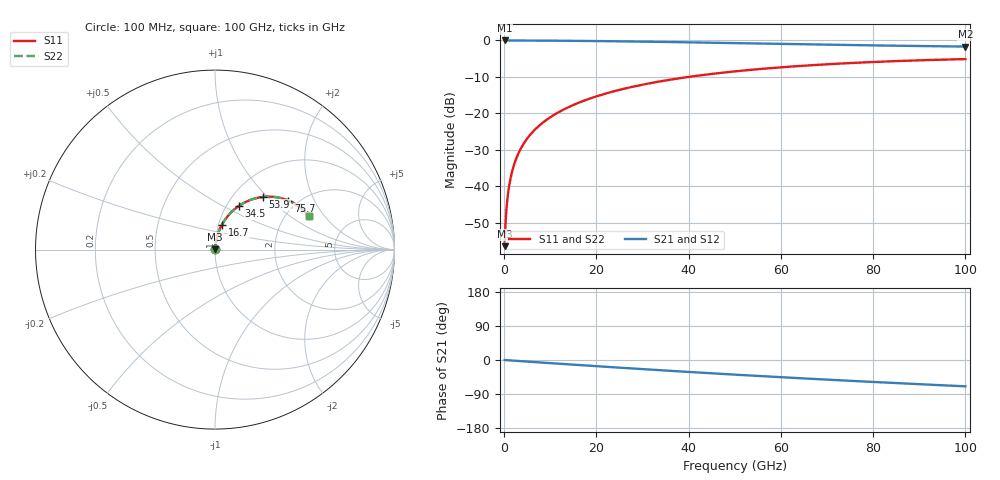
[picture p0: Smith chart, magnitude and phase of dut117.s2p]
! Touchstone file exported from HFSS 2026.1.0
!  File:  C:/ffzhzh/LocalFiles/Ansys_Project_Files/temp_train_RDL_117_1783499372_55944.aedt
!  Generated:  04:30:39 PM Jul  8, 2026
!  Design:  RDL
!  Project:  temp_train_RDL_117_1783499372_55944
! Variables:
!  h_bsmrdl = 2um
!  h_ox = 20um
!  h_rdl = 5um
!  h_sub = 80um
!  h_tmrdl = 4.64um
!  h_tsv = 80um
!  h_via = 3um
!  l_bsmrdl = 300um
!  l_sub = 605.94um
!  l_tmrdl = 205.94um
!  m_sub = 200um
!  pitch = 40.42um
!  r_tsv = 6um
!  s_tmrdl = 10um
!  w_bsmrdl = 18um
!  w_sub = 500um
!  w_tmrdl = 15.44um
!  x_tsv_center1 = 213.66um
!  x_tsv_center2 = 531.66um
!  x_tsv_center3 = 753.04um
!  x_tsv_center4 = 1071.04um
!  x_tsv_center5 = 1292.42um
!  x_tsv_center6 = 1610.42um
# GHz S MA R 50.000000
! Terminal data exported
! Port[1] = TM_RDL1_1_T1
! Port[2] = TM_RDL1_1_T2
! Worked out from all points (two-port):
!   1000 points, 100 MHz to 100 GHz, reference 50 ohm
!   highest |S21| = -0.01 dB at 100 MHz (marker M1); lowest = -1.7 dB at 100 GHz (marker M2)
!   |S21| within 3 dB of the highest: start of sweep to end of sweep
!   lowest |S11| = -56.4 dB at 100 MHz (marker M3), VSWR 1.00, Z = 50.1 + j0.098 ohm
!   |S11| at or under -10 dB: start of sweep to 40.05 GHz
!   |S22| runs from -56.4 to -5.1 dB; largest |S21 - S12| = 5.1e-15
!   S11 on the Smith chart (normalised r, x): 100 MHz: 1.00, +0.00; 16.7 GHz: 1.04, +0.29; 34.5 GHz: 1.14, +0.60; 53.9 GHz: 1.35, +0.94; 75.7 GHz: 1.79, +1.29; 100 GHz: 2.63, +1.42
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0.1  0.001509 40.4  0.9989 -0.1  0.9989 -0.1  0.001509 40.4
! Gamma 0 0 0 0
! Port Impedance 50 0 50 0
0.4  0.003994 71.1  0.9987 -0.3  0.9987 -0.3  0.003994 71.1
0.8  0.007553 79.0  0.9986 -0.7  0.9986 -0.7  0.007553 79.0
1.1  0.01026 81.2  0.9985 -0.9  0.9985 -0.9  0.01026 81.2
1.4  0.01298 82.4  0.9985 -1.2  0.9985 -1.2  0.01298 82.4
1.9  0.01751 83.3  0.9983 -1.6  0.9983 -1.6  0.01751 83.3
2.4  0.02204 83.6  0.9981 -2.0  0.9981 -2.0  0.02204 83.6
3.9  0.03549 83.3  0.9973 -3.3  0.9973 -3.3  0.03549 83.3
6  0.05397 82.1  0.9958 -5.0  0.9958 -5.0  0.05397 82.1
8.8  0.07814 80.1  0.9935 -7.3  0.9935 -7.3  0.07814 80.2
12.3  0.1078 77.6  0.99 -10.2  0.99 -10.2  0.1078 77.6
16.7  0.1442 74.4  0.9847 -13.7  0.9847 -13.7  0.1442 74.4
16.8  0.145 74.3  0.9845 -13.8  0.9845 -13.8  0.145 74.3
24.2  0.2038 68.8  0.9732 -19.6  0.9732 -19.6  0.2037 68.8
33.4  0.2715 62.0  0.9558 -26.6  0.9558 -26.6  0.2715 62.0
34.5  0.2791 61.1  0.9535 -27.5  0.9535 -27.5  0.2791 61.2
50.1  0.3767 50.1  0.9188 -38.7  0.9188 -38.7  0.3767 50.2
53.9  0.3973 47.6  0.91 -41.3  0.91 -41.3  0.3973 47.7
66.7  0.4575 39.3  0.8813 -49.7  0.8813 -49.7  0.4574 39.4
75.7  0.4917 33.7  0.8627 -55.3  0.8627 -55.3  0.4917 33.8
83.4  0.5161 29.2  0.8484 -60.0  0.8484 -60.0  0.5161 29.3
100  0.5547 19.7  0.8239 -69.5  0.8239 -69.5  0.5547 19.9
